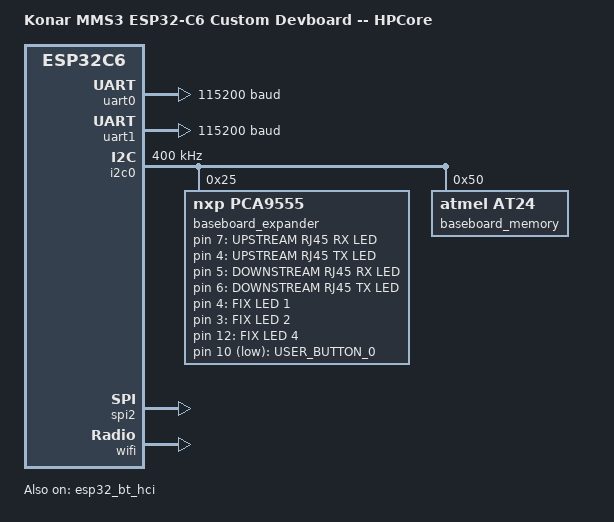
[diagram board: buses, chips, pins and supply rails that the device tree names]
/dts-v1/;
#include <espressif/esp32c6/esp32c6.dtsi>
#include "konar_mms3_esp32c6-pinctrl.dtsi"
#include <zephyr/dt-bindings/input/input-event-codes.h>
#include <espressif/partitions_0x0_default.dtsi>

#define ESP32C6_SLOT_CS_GPIOS \
	<&gpio0  0 GPIO_ACTIVE_LOW>, /* XTAL_32K_P (GPIO0) */ \
	<&gpio0  1 GPIO_ACTIVE_LOW>, /* XTAL_32K_N (GPIO1) */ \
	<&gpio0  2 GPIO_ACTIVE_LOW>, /* GPIO2 */              \
	<&gpio0  3 GPIO_ACTIVE_LOW>, /* GPIO3 */              \
	<&gpio0 11 GPIO_ACTIVE_LOW>, /* GPIO11 */             \
	<&gpio0 10 GPIO_ACTIVE_LOW>, /* GPIO10 */             \
	<&gpio0  9 GPIO_ACTIVE_LOW>, /* GPIO9 */              \
	<&gpio0  8 GPIO_ACTIVE_LOW>  /* GPIO8 */
/ {
    model = "Konar MMS3 ESP32-C6 Custom Devboard -- HPCore";
    compatible = "konar,mms3-esp32c6";
    aliases {
        chainbus-i2c = &i2c0;
        chainbus-spi = &spi2;
        chainbus-uart = &uart1;
    };

    chosen {
        zephyr,sram = &sramhp;
        zephyr,console = &uart0;
        zephyr,shell-uart = &uart0;
        zephyr,sram = &sramhp;
        zephyr,flash = &flash0;
        zephyr,code-partition = &slot0_partition;
    };
    leds {
        compatible = "gpio-leds";
        status = "okay";
        led0: led_0 {
            gpios = <&baseboard_expander 7 GPIO_ACTIVE_HIGH>;
            label = "UPSTREAM RJ45 RX LED";
        };
        led1: led_1 {
            gpios = <&baseboard_expander 4 GPIO_ACTIVE_HIGH>;
            label = "UPSTREAM RJ45 TX LED";
        };
        led2: led_2 {
            gpios = <&baseboard_expander 5 GPIO_ACTIVE_HIGH>;
            label = "DOWNSTREAM RJ45 RX LED";
        };
        led3: led_3 {
            gpios = <&baseboard_expander 6 GPIO_ACTIVE_HIGH>;
            label = "DOWNSTREAM RJ45 TX LED";
        };
    };

    fix_led_0 {
        compatible = "gpio-leds";
        status = "okay";

        fix_led0: led_0 {
            gpios = <&baseboard_expander 4 GPIO_ACTIVE_HIGH>;
            label = "FIX LED 1";
        };
        fix_led1: led_1 {
            gpios = <&baseboard_expander 3 GPIO_ACTIVE_HIGH>;
            label = "FIX LED 2";
        };
    };

    fix_led_1 {
        compatible = "gpio-leds";
        status = "okay";

        fix_led2: led_1 {
            gpios = <&baseboard_expander 12 GPIO_ACTIVE_HIGH>;
            label = "FIX LED 4";
        };
    };
    buttons {
        compatible = "gpio-keys";
        status = "okay";

        button0: button_0{
            gpios = <&baseboard_expander 10 GPIO_ACTIVE_LOW>;
            label = "USER_BUTTON_0";
        }
    }
};

&uart0 {
    current-speed = <115200>;
    pinctrl-0 = <&uart0_default>;
    pinctrl-names = "default";
    status = "okay";
};
&uart1 {
    current-speed = <115200>;
    pinctrl-0 = <&uart1_default>;
    pinctrl-names = "default";
    status = "okay";
};

&i2c0 {
    clock-frequency = <I2C_BITRATE_FAST>;
    pinctrl-0 = <&i2c0_default>;
    pinctrl-names = "default";
    status = "okay";
    baseboard_expander: gpio@25 {
        compatible = "nxp,pca9555";
        reg = <0x25>;
        gpio-controller;
        #gpio-cells = <2>;
        ngpios = <16>;
        status = "okay";
    };
    baseboard_memory: eeprom@50 {
        compatible = "atmel,at24";
        reg = <0x50>;
        size = <DT_SIZE_K(32)>;
        pagesize = <64>;
        address-width = <16>;
        timeout = <5>;
        status = "okay";
    };
};

&spi2 {
    #address-cells = <1>;
    #size-cells = <0>;
    pinctrl-0 = <&spim2_default>;
    pinctrl-names = "default";
    status = "okay";
};
&gpio0 {
    status = "okay";
};
&flash0 {
    reg = <0x0 DT_SIZE_M(16)>;
    ranges = <0x0 0x0 DT_SIZE_M(16)>;
};
&wifi {
    status = "okay";
};
&esp32_bt_hci {
    status = "okay";
};
